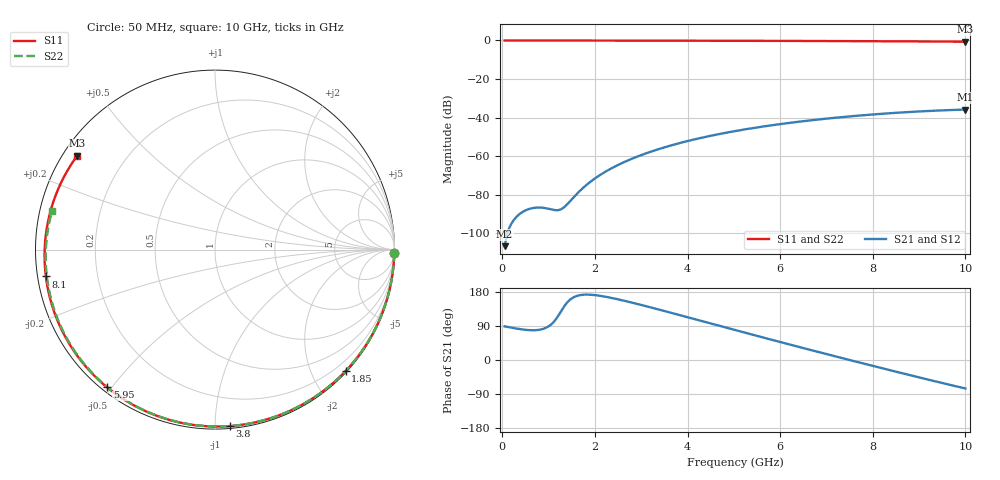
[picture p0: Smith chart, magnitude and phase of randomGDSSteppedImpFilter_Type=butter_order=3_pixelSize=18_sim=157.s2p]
! freq	dB(S11)	phase(S11)	dB(S12)	phase(S12)
!  dB(S21)	phase(S21)	dB(S22)	phase(S22)
!S-par simulation data
#  GHz  S  DB  R 50
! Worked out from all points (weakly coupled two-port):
!   200 points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, 50 MHz to 10 GHz, reference 50 ohm
!   highest |S21| = -35.86 dB at 10 GHz (marker M1); lowest = -106.7 dB at 50 MHz (marker M2)
!   lowest |S11| = -0.6 dB at 10 GHz (marker M3), VSWR 27.17, Z = 2.02 + j15.4 ohm
!   |S11| at or under -10 dB: nowhere
!   |S22| runs from -0.6 to 0.0 dB; largest |S21 - S12| = 0
!   S11 on the Smith chart (normalised r, x): 50 MHz: open; 1.85 GHz: 0.02, -2.54; 3.8 GHz: 0.01, -1.09; 5.95 GHz: 0.02, -0.49; 8.1 GHz: 0.02, -0.08; 10 GHz: 0.04, +0.31
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0.05  -0.00 -1.1  -106.74 88.8  -106.74 88.8  -0.00 -1.1
0.8  -0.02 -18.8  -86.70 79.8  -86.70 79.8  -0.02 -17.7
1.55  -0.05 -36.1  -81.13 166.1  -81.13 166.1  -0.04 -34.0
1.6  -0.05 -37.3  -79.86 168.6  -79.86 168.6  -0.04 -35.1
1.75  -0.05 -40.7  -76.38 172.2  -76.38 172.2  -0.05 -38.3
1.85  -0.05 -42.9  -74.34 172.5  -74.34 172.5  -0.05 -40.4
2.15  -0.06 -49.7  -69.23 168.7  -69.23 168.7  -0.06 -46.7
2.5  -0.07 -57.4  -64.60 160.1  -64.60 160.1  -0.07 -54.0
2.9  -0.09 -66.1  -60.40 148.4  -60.40 148.4  -0.08 -62.1
3.4  -0.10 -76.8  -56.21 132.6  -56.21 132.6  -0.10 -72.1
3.8  -0.11 -85.1  -53.44 119.5  -53.44 119.5  -0.11 -79.9
4.4  -0.14 -97.4  -49.98 99.8  -49.98 99.8  -0.13 -91.4
5.05  -0.17 -110.4  -46.93 78.4  -46.93 78.4  -0.16 -103.4
5.95  -0.22 -128.1  -43.57 49.1  -43.57 49.1  -0.21 -119.6
6.7  -0.28 -142.7  -41.34 25.1  -41.34 25.1  -0.26 -132.9
7.4  -0.34 -156.6  -39.63 3.1  -39.63 3.1  -0.31 -145.2
8.1  -0.41 -171.0  -38.22 -18.6  -38.22 -18.6  -0.38 -157.6
8.35  -0.43 -176.3  -37.79 -26.3  -37.79 -26.3  -0.40 -162.1
8.8  -0.49 174.0  -37.11 -39.9  -37.11 -39.9  -0.45 -170.3
9.2  -0.54 165.0  -36.60 -51.9  -36.60 -51.9  -0.50 -177.8
9.6  -0.59 155.5  -36.18 -63.7  -36.18 -63.7  -0.55 174.6
10  -0.64 145.7  -35.86 -75.2  -35.86 -75.2  -0.60 166.6
